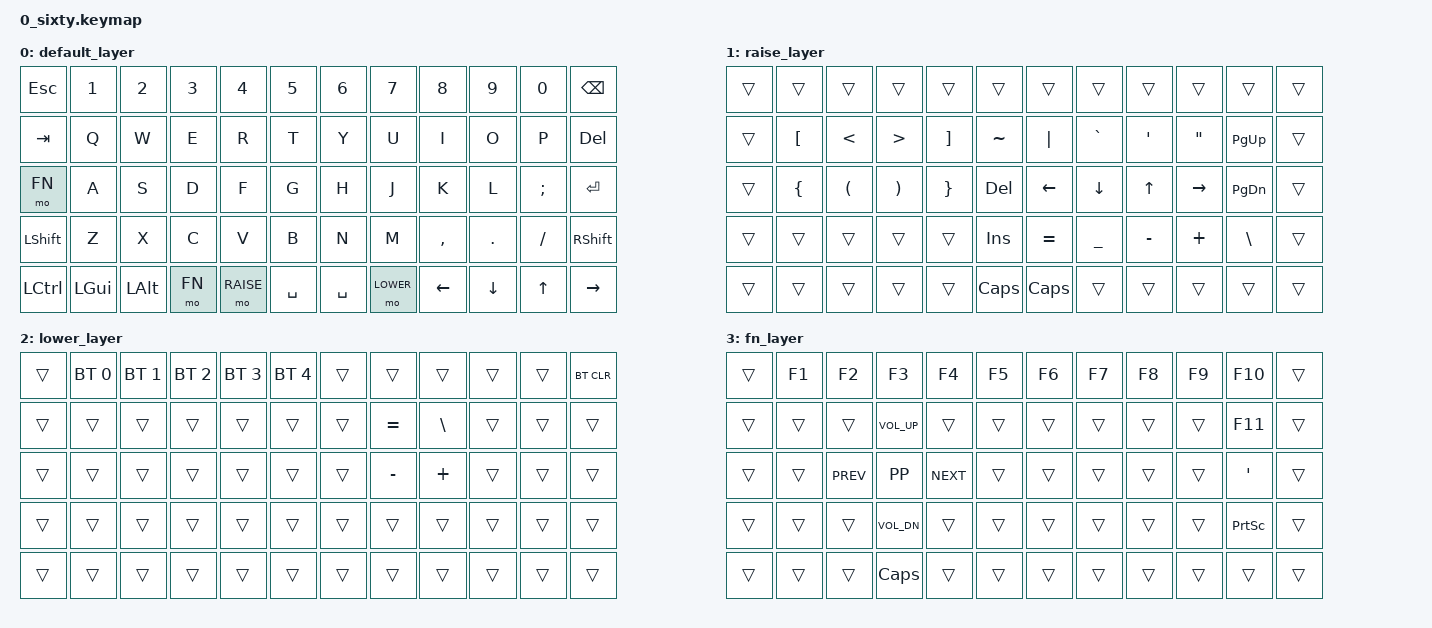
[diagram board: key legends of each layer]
/*
 * Copyright (c) 2020 The ZMK Contributors
 *
 * SPDX-License-Identifier: MIT
 */

#include <behaviors.dtsi>
#include <dt-bindings/zmk/keys.h>
#include <dt-bindings/zmk/bt.h>

#define DEFAULT 0
#define RAISE 1
#define LOWER 2
#define FN 3

/ {
	keymap0: keymap {
		compatible = "zmk,keymap";

		default_layer {
// ------------------------------------------------------------------------------------------
// | ESC  |  1  |  2  |  3  |  4  |  5  |  6  |  7  |  8  |  9  |  0  |  BKSP  |
// | TAB  |  Q  |  W  |  E  |  R  |  T  |  Y  |  U  |  I  |  O  |  P  |  DEL   |
// | FN   |  A  |  S  |  D  |  F  |  G  |  H  |  J  |  K  |  L  |  ;  |  ENTER |
// | SHIFT|  Z  |  X  |  C  |  V  |  B  |  N  |  M  |  ,  |  .  |  /  |  SHIFT |
// | CTL  | WIN | ALT | MENU| MO1 |   SPACE   | MO2 | LFT | DWN | UP  |  RIGHT |
// ------------------------------------------------------------------------------------------
			bindings = <
&kp ESC &kp N1 &kp N2 &kp N3 &kp N4 &kp N5 &kp N6 &kp N7 &kp   N8  &kp  N9 &kp  N0  &kp BSPC
&kp TAB  &kp Q  &kp W  &kp E  &kp R  &kp T  &kp Y  &kp U  &kp   I   &kp  O  &kp   P  &kp DEL
&mo FN  &kp A  &kp S  &kp D  &kp F  &kp G  &kp H  &kp J  &kp   K   &kp  L  &kp SEMI &kp RET
&kp LSHFT  &kp Z  &kp X  &kp C  &kp V  &kp B  &kp N  &kp M  &kp COMMA &kp DOT &kp FSLH &kp RSHFT
&kp LCTL &kp LGUI &kp LALT &mo FN &mo RAISE &kp SPACE &kp SPACE &mo LOWER &kp LEFT &kp DOWN &kp UP &kp RIGHT
			>;
		};

		raise_layer {
			bindings = <
&trans     &trans     &trans     &trans     &trans       &trans     &trans     &trans     &trans     &trans     &trans     &trans     
&trans     &kp LBKT   &kp LT     &kp GT     &kp RBKT     &kp TILDE  &kp PIPE   &kp GRAVE  &kp APOS   &kp DQT    &kp PG_UP  &trans     
&trans     &kp LBRC   &kp LPAR   &kp RPAR   &kp RBRC     &kp DEL    &kp LEFT   &kp DOWN   &kp UP     &kp RIGHT  &kp PG_DN  &trans 
&trans     &trans     &trans     &trans     &trans       &kp INS    &kp EQUAL  &kp UNDER  &kp MINUS  &kp PLUS   &kp BSLH   &trans     
&trans     &trans     &trans     &trans     &trans       &kp CAPS   &kp CAPS   &trans     &trans     &trans     &trans     &trans     
			>;
		};

		lower_layer {
			bindings = <
&trans     &bt BT_SEL 0  &bt BT_SEL 1  &bt BT_SEL 2  &bt BT_SEL 3  &bt BT_SEL 4  &trans     &trans     &trans     &trans     &trans     &bt BT_CLR
&trans     &trans        &trans        &trans        &trans        &trans        &trans     &kp EQUAL   &kp BSLH  &trans     &trans     &trans     
&trans     &trans        &trans        &trans        &trans        &trans        &trans     &kp MINUS  &kp PLUS   &trans     &trans     &trans     
&trans     &trans        &trans        &trans        &trans        &trans        &trans     &trans     &trans     &trans     &trans     &trans     
&trans     &trans        &trans        &trans        &trans        &trans        &trans     &trans     &trans     &trans     &trans     &trans     
			>;
		};

		fn_layer {
			bindings = <
&trans     &kp F1     &kp F2      &kp F3       &kp F4     &kp F5     &kp F6     &kp F7     &kp F8     &kp F9     &kp F10     &trans     
&trans     &trans     &trans      &kp K_VOL_UP &trans     &trans     &trans     &trans     &trans     &trans     &kp F11     &trans     
&trans     &trans     &kp K_PREV  &kp K_PP     &kp K_NEXT &trans     &trans     &trans     &trans     &trans     &kp APOS    &trans     
&trans     &trans     &trans      &kp K_VOL_DN &trans     &trans     &trans     &trans     &trans     &trans     &kp PSCRN   &trans     
&trans     &trans     &trans      &kp CAPS     &trans     &trans     &trans     &trans     &trans     &trans     &trans      &trans     
			>;
		};
	};
};

